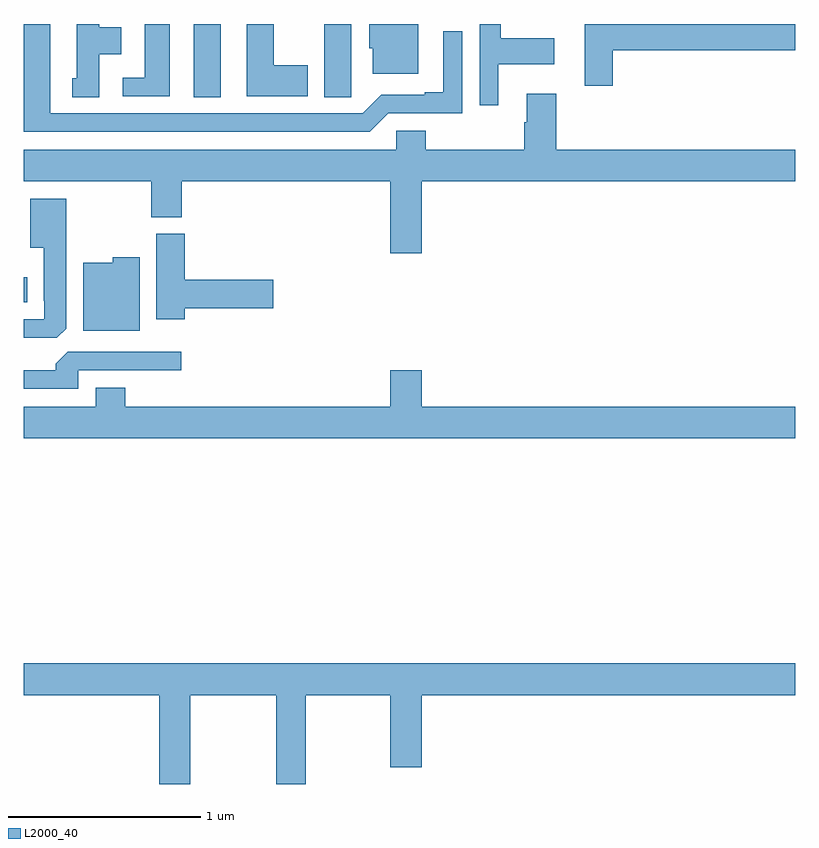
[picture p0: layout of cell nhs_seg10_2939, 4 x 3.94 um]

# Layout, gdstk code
import gdstk
lib = gdstk.Library(unit=1e-6, precision=1e-09)
def R(c, l, rs):  # rectangles x0, y0, x1, y1
    for r in rs: c.add(gdstk.rectangle(r[:2], r[2:], *l))
def P(c, l, *ps):  # polygons
    for p in ps: c.add(gdstk.Polygon(p, *l))
L2000_40 = (2000, 40)

nhs_seg10_2939 = lib.new_cell('nhs_seg10_2939')
R(nhs_seg10_2939, L2000_40, [(271,1265.057,271.018,1265.188), (271.88,1266.121,272.02,1266.5)])
P(nhs_seg10_2939, L2000_40, [(271.756,1266.5),(271.628,1266.5),(271.628,1266.222),(271.512,1266.222),(271.512,1266.126),(271.756,1266.126)],
  [(273.046,1266.5),(272.792,1266.5),(272.792,1266.375),(272.81,1266.375),(272.81,1266.242),(273.046,1266.242)],
  [(271.39,1266.344),(271.504,1266.344),(271.504,1266.484),(271.39,1266.484),(271.39,1266.5),(271.274,1266.5),(271.274,1266.219),(271.25,1266.219),(271.25,1266.121),(271.39,1266.121)],
  [(272.889,1266.036),(273.273,1266.036),(273.273,1266.463),(273.176,1266.463),(273.176,1266.145),(273.08,1266.145),(273.08,1266.132),(272.853,1266.132),(272.757,1266.036),(271.138,1266.036),(271.138,1266.5),(271,1266.5),(271,1265.94),(272.793,1265.94)],
  [(273.46,1266.29),(273.751,1266.29),(273.751,1266.425),(273.472,1266.425),(273.472,1266.5),(273.363,1266.5),(273.363,1266.078),(273.46,1266.078)],
  [(274.055,1266.364),(275,1266.364),(275,1266.5),(273.908,1266.5),(273.908,1266.18),(274.055,1266.18)],
  [(272.697,1266.232),(272.698,1266.232),(272.698,1266.5),(272.558,1266.5),(272.558,1266.121),(272.697,1266.121)],
  [(272.473,1266.285),(272.296,1266.285),(272.296,1266.5),(272.156,1266.5),(272.156,1266.125),(272.473,1266.125)],
  [(273.064,1265.684),(275,1265.684),(275,1265.848),(273.761,1265.848),(273.761,1266.139),(273.608,1266.139),(273.608,1265.99),(273.596,1265.99),(273.596,1265.848),(273.083,1265.848),(273.083,1265.946),(272.931,1265.946),(272.931,1265.848),(271,1265.848),(271,1265.684),(271.66,1265.684),(271.66,1265.497),(271.82,1265.497),(271.82,1265.684),(272.9,1265.684),(272.9,1265.31),(273.064,1265.31)],
  [(271.219,1264.921),(271.219,1265.593),(271.034,1265.593),(271.034,1265.339),(271.103,1265.339),(271.103,1265.065),(271.107,1265.065),(271.107,1264.968),(271,1264.968),(271,1264.872),(271.17,1264.872)],
  [(271.835,1265.027),(272.293,1265.027),(272.293,1265.174),(271.835,1265.174),(271.835,1265.412),(271.688,1265.412),(271.688,1264.968),(271.835,1264.968)],
  [(271.6,1265.29),(271.461,1265.29),(271.461,1265.263),(271.307,1265.263),(271.307,1264.91),(271.6,1264.91)],
  [(271.281,1264.704),(271.816,1264.704),(271.816,1264.8),(271.227,1264.8),(271.166,1264.738),(271.166,1264.704),(271,1264.704),(271,1264.608),(271.281,1264.608)],
  [(275,1264.516),(273.064,1264.516),(273.064,1264.705),(272.9,1264.705),(272.9,1264.516),(271.526,1264.516),(271.526,1264.615),(271.373,1264.615),(271.373,1264.516),(271,1264.516),(271,1264.352),(275,1264.352)],
  [(271,1263.02),(271.703,1263.02),(271.703,1262.559),(271.863,1262.559),(271.863,1263.02),(272.308,1263.02),(272.308,1262.559),(272.463,1262.559),(272.463,1263.02),(272.9,1263.02),(272.9,1262.646),(273.064,1262.646),(273.064,1263.02),(275,1263.02),(275,1263.184),(271,1263.184)])

lib.write_gds('nhs_seg10_2939.gds')
